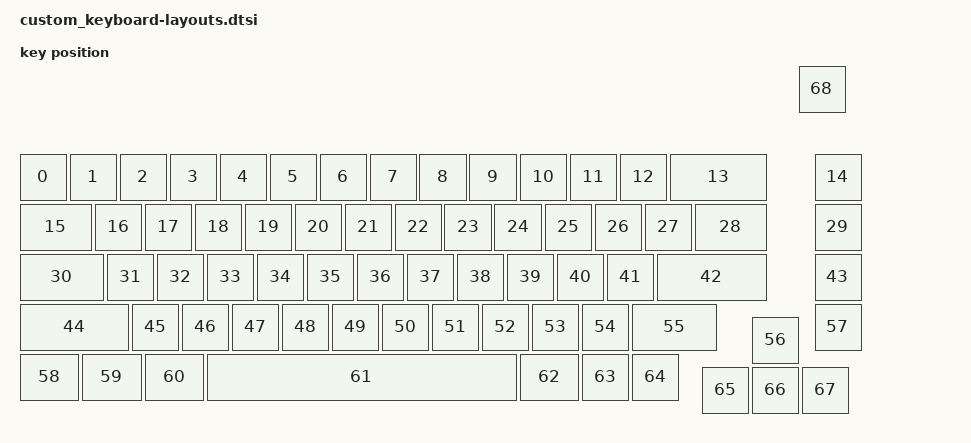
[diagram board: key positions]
#include <physical_layouts.dtsi>

/ {
    default_layout: default_layout {
        compatible = "zmk,physical-layout";
        display-name = "Default";

        keys
        // Top row: Esc through Delete
            = <&key_physical_attrs 100 100    0 176 0 0 0>
            , <&key_physical_attrs 100 100  100 176 0 0 0>
            , <&key_physical_attrs 100 100  200 176 0 0 0>
            , <&key_physical_attrs 100 100  300 176 0 0 0>
            , <&key_physical_attrs 100 100  400 176 0 0 0>
            , <&key_physical_attrs 100 100  500 176 0 0 0>
            , <&key_physical_attrs 100 100  600 176 0 0 0>
            , <&key_physical_attrs 100 100  700 176 0 0 0>
            , <&key_physical_attrs 100 100  800 176 0 0 0>
            , <&key_physical_attrs 100 100  900 176 0 0 0>
            , <&key_physical_attrs 100 100 1000 176 0 0 0>
            , <&key_physical_attrs 100 100 1100 176 0 0 0>
            , <&key_physical_attrs 100 100 1200 176 0 0 0>
            , <&key_physical_attrs 200 100 1300 176 0 0 0>
            , <&key_physical_attrs 100 100 1590 176 0 0 0>

        // Tab row
            , <&key_physical_attrs 150 100    0 276 0 0 0>
            , <&key_physical_attrs 100 100  150 276 0 0 0>
            , <&key_physical_attrs 100 100  250 276 0 0 0>
            , <&key_physical_attrs 100 100  350 276 0 0 0>
            , <&key_physical_attrs 100 100  450 276 0 0 0>
            , <&key_physical_attrs 100 100  550 276 0 0 0>
            , <&key_physical_attrs 100 100  650 276 0 0 0>
            , <&key_physical_attrs 100 100  750 276 0 0 0>
            , <&key_physical_attrs 100 100  850 276 0 0 0>
            , <&key_physical_attrs 100 100  950 276 0 0 0>
            , <&key_physical_attrs 100 100 1050 276 0 0 0>
            , <&key_physical_attrs 100 100 1150 276 0 0 0>
            , <&key_physical_attrs 100 100 1250 276 0 0 0>
            , <&key_physical_attrs 150 100 1350 276 0 0 0>
            , <&key_physical_attrs 100 100 1590 276 0 0 0>

        // Caps Lock row
            , <&key_physical_attrs 175 100    0 376 0 0 0>
            , <&key_physical_attrs 100 100  175 376 0 0 0>
            , <&key_physical_attrs 100 100  275 376 0 0 0>
            , <&key_physical_attrs 100 100  375 376 0 0 0>
            , <&key_physical_attrs 100 100  475 376 0 0 0>
            , <&key_physical_attrs 100 100  575 376 0 0 0>
            , <&key_physical_attrs 100 100  675 376 0 0 0>
            , <&key_physical_attrs 100 100  775 376 0 0 0>
            , <&key_physical_attrs 100 100  875 376 0 0 0>
            , <&key_physical_attrs 100 100  975 376 0 0 0>
            , <&key_physical_attrs 100 100 1075 376 0 0 0>
            , <&key_physical_attrs 100 100 1175 376 0 0 0>
            , <&key_physical_attrs 225 100 1275 376 0 0 0>
            , <&key_physical_attrs 100 100 1590 376 0 0 0>

        // Shift row
            , <&key_physical_attrs 225 100    0 476 0 0 0>
            , <&key_physical_attrs 100 100  225 476 0 0 0>
            , <&key_physical_attrs 100 100  325 476 0 0 0>
            , <&key_physical_attrs 100 100  425 476 0 0 0>
            , <&key_physical_attrs 100 100  525 476 0 0 0>
            , <&key_physical_attrs 100 100  625 476 0 0 0>
            , <&key_physical_attrs 100 100  725 476 0 0 0>
            , <&key_physical_attrs 100 100  825 476 0 0 0>
            , <&key_physical_attrs 100 100  925 476 0 0 0>
            , <&key_physical_attrs 100 100 1025 476 0 0 0>
            , <&key_physical_attrs 100 100 1125 476 0 0 0>
            , <&key_physical_attrs 175 100 1225 476 0 0 0>
            , <&key_physical_attrs 100 100 1464 502 0 0 0>
            , <&key_physical_attrs 100 100 1590 476 0 0 0>

        // Bottom row and arrow cluster
            , <&key_physical_attrs 125 100    0 576 0 0 0>
            , <&key_physical_attrs 125 100  125 576 0 0 0>
            , <&key_physical_attrs 125 100  250 576 0 0 0>
            , <&key_physical_attrs 625 100  375 576 0 0 0>
            , <&key_physical_attrs 125 100 1000 576 0 0 0>
            , <&key_physical_attrs 100 100 1125 576 0 0 0>
            , <&key_physical_attrs 100 100 1225 576 0 0 0>
            , <&key_physical_attrs 100 100 1364 602 0 0 0>
            , <&key_physical_attrs 100 100 1464 602 0 0 0>
            , <&key_physical_attrs 100 100 1564 602 0 0 0>

        // Encoder push button
            , <&key_physical_attrs 100 100 1558   0 0 0 0>
            ;
    };
};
